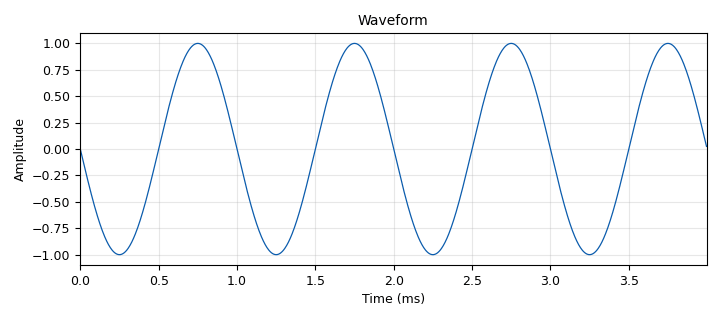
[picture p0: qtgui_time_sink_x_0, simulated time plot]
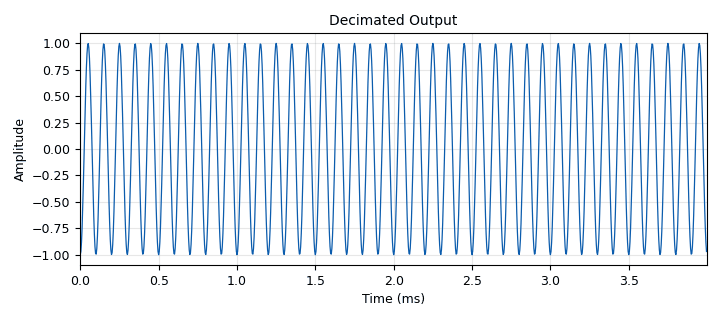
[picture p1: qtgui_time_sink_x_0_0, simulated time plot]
<?xml version='1.0' encoding='utf-8'?>
<?grc format='1' created='3.7.11'?>
<flow_graph>
<block>
<key>options</key>
<param><key>id</key><value>lab06_pam003</value></param>
<param><key>author</key><value>Maurice Woods</value></param>
<param><key>description</key><value>ECEN 4652 :: Comms Lab</value></param>
<param><key>generate_options</key><value>qt_gui</value></param>
<param><key>title</key><value>Lab 6, PAM Example 3</value></param>
</block>
<block>
<key>variable_qtgui_range</key>
<param><key>id</key><value>A</value></param>
<param><key>value</key><value>1</value></param>
<param><key>label</key><value>Waveform Amplitude</value></param>
<param><key>orient</key><value>Qt.Horizontal</value></param>
<param><key>start</key><value>0</value></param>
<param><key>step</key><value>1</value></param>
<param><key>stop</key><value>5</value></param>
<param><key>rangeType</key><value>int</value></param>
</block>
<block>
<key>variable</key>
<param><key>id</key><value>Fs</value></param>
<param><key>value</key><value>256000</value></param>
</block>
<block>
<key>variable_qtgui_range</key>
<param><key>id</key><value>N</value></param>
<param><key>value</key><value>10</value></param>
<param><key>label</key><value>Filter Order (N)</value></param>
<param><key>orient</key><value>Qt.Horizontal</value></param>
<param><key>start</key><value>1</value></param>
<param><key>step</key><value>10</value></param>
<param><key>stop</key><value>1000</value></param>
<param><key>rangeType</key><value>int</value></param>
</block>
<block>
<key>variable_qtgui_range</key>
<param><key>id</key><value>alfa</value></param>
<param><key>value</key><value>0.5</value></param>
<param><key>label</key><value>Frequency Rolloff</value></param>
<param><key>orient</key><value>Qt.Horizontal</value></param>
<param><key>start</key><value>0</value></param>
<param><key>step</key><value>0.1</value></param>
<param><key>stop</key><value>10</value></param>
</block>
<block>
<key>variable_qtgui_range</key>
<param><key>id</key><value>f0</value></param>
<param><key>value</key><value>1000</value></param>
<param><key>label</key><value>Waveform Frequency</value></param>
<param><key>orient</key><value>Qt.Horizontal</value></param>
<param><key>start</key><value>0</value></param>
<param><key>step</key><value>10</value></param>
<param><key>stop</key><value>3000</value></param>
<param><key>rangeType</key><value>int</value></param>
</block>
<block>
<key>variable_qtgui_range</key>
<param><key>id</key><value>fL</value></param>
<param><key>value</key><value>1000</value></param>
<param><key>label</key><value>Cutoff Frequency</value></param>
<param><key>orient</key><value>Qt.Horizontal</value></param>
<param><key>start</key><value>0</value></param>
<param><key>step</key><value>10</value></param>
<param><key>stop</key><value>3000</value></param>
<param><key>rangeType</key><value>int</value></param>
</block>
<block>
<key>variable</key>
<param><key>id</key><value>phiL</value></param>
<param><key>value</key><value>fL/Fs</value></param>
</block>
<block>
<key>analog_sig_source_x</key>
<param><key>id</key><value>analog_sig_source_x_0</value></param>
<param><key>amp</key><value>A</value></param>
<param><key>freq</key><value>f0</value></param>
<param><key>offset</key><value>0</value></param>
<param><key>type</key><value>float</value></param>
<param><key>samp_rate</key><value>Fs</value></param>
<param><key>waveform</key><value>analog.GR_COS_WAVE</value></param>
</block>
<block>
<key>blocks_throttle</key>
<param><key>id</key><value>blocks_throttle_0</value></param>
<param><key>samples_per_second</key><value>32000</value></param>
<param><key>type</key><value>float</value></param>
</block>
<block>
<key>fir_filter_xxx</key>
<param><key>id</key><value>fir_filter_xxx_0</value></param>
<param><key>decim</key><value>N</value></param>
<param><key>taps</key><value>1</value></param>
<param><key>type</key><value>fff</value></param>
</block>
<block>
<key>import</key>
<param><key>id</key><value>import_0</value></param>
<param><key>import</key><value>import filtspecs</value></param>
</block>
<block>
<key>interp_fir_filter_xxx</key>
<param><key>id</key><value>interp_fir_filter_xxx_0</value></param>
<param><key>interp</key><value>N</value></param>
<param><key>taps</key><value>filtspecs.trapfilt_taps(N, phiL, alfa)</value></param>
<param><key>type</key><value>fff</value></param>
</block>
<block>
<key>qtgui_time_sink_x</key>
<param><key>id</key><value>qtgui_time_sink_x_0</value></param>
<param><key>autoscale</key><value>True</value></param>
<param><key>grid</key><value>True</value></param>
<param><key>color1</key><value>"blue"</value></param>
<param><key>label1</key><value></value></param>
<param><key>name</key><value>"Waveform"</value></param>
<param><key>size</key><value>1024</value></param>
<param><key>srate</key><value>Fs</value></param>
<param><key>type</key><value>float</value></param>
</block>
<block>
<key>qtgui_time_sink_x</key>
<param><key>id</key><value>qtgui_time_sink_x_0_0</value></param>
<param><key>autoscale</key><value>True</value></param>
<param><key>grid</key><value>True</value></param>
<param><key>color1</key><value>"blue"</value></param>
<param><key>label1</key><value></value></param>
<param><key>name</key><value>"Decimated Output"</value></param>
<param><key>size</key><value>1024</value></param>
<param><key>srate</key><value>Fs</value></param>
<param><key>type</key><value>float</value></param>
</block>
<block>
<key>qtgui_time_sink_x</key>
<param><key>id</key><value>qtgui_time_sink_x_0_0_0</value></param>
<param><key>autoscale</key><value>True</value></param>
<param><key>grid</key><value>True</value></param>
<param><key>color1</key><value>"blue"</value></param>
<param><key>label1</key><value></value></param>
<param><key>name</key><value>"Interpolated Output"</value></param>
<param><key>size</key><value>1024</value></param>
<param><key>srate</key><value>Fs</value></param>
<param><key>type</key><value>float</value></param>
</block>
<connection><source_block_id>analog_sig_source_x_0</source_block_id><sink_block_id>blocks_throttle_0</sink_block_id><source_key>0</source_key><sink_key>0</sink_key></connection>
<connection><source_block_id>blocks_throttle_0</source_block_id><sink_block_id>fir_filter_xxx_0</sink_block_id><source_key>0</source_key><sink_key>0</sink_key></connection>
<connection><source_block_id>blocks_throttle_0</source_block_id><sink_block_id>qtgui_time_sink_x_0</sink_block_id><source_key>0</source_key><sink_key>0</sink_key></connection>
<connection><source_block_id>fir_filter_xxx_0</source_block_id><sink_block_id>interp_fir_filter_xxx_0</sink_block_id><source_key>0</source_key><sink_key>0</sink_key></connection>
<connection><source_block_id>fir_filter_xxx_0</source_block_id><sink_block_id>qtgui_time_sink_x_0_0</sink_block_id><source_key>0</source_key><sink_key>0</sink_key></connection>
<connection><source_block_id>interp_fir_filter_xxx_0</source_block_id><sink_block_id>qtgui_time_sink_x_0_0_0</sink_block_id><source_key>0</source_key><sink_key>0</sink_key></connection>
</flow_graph>
